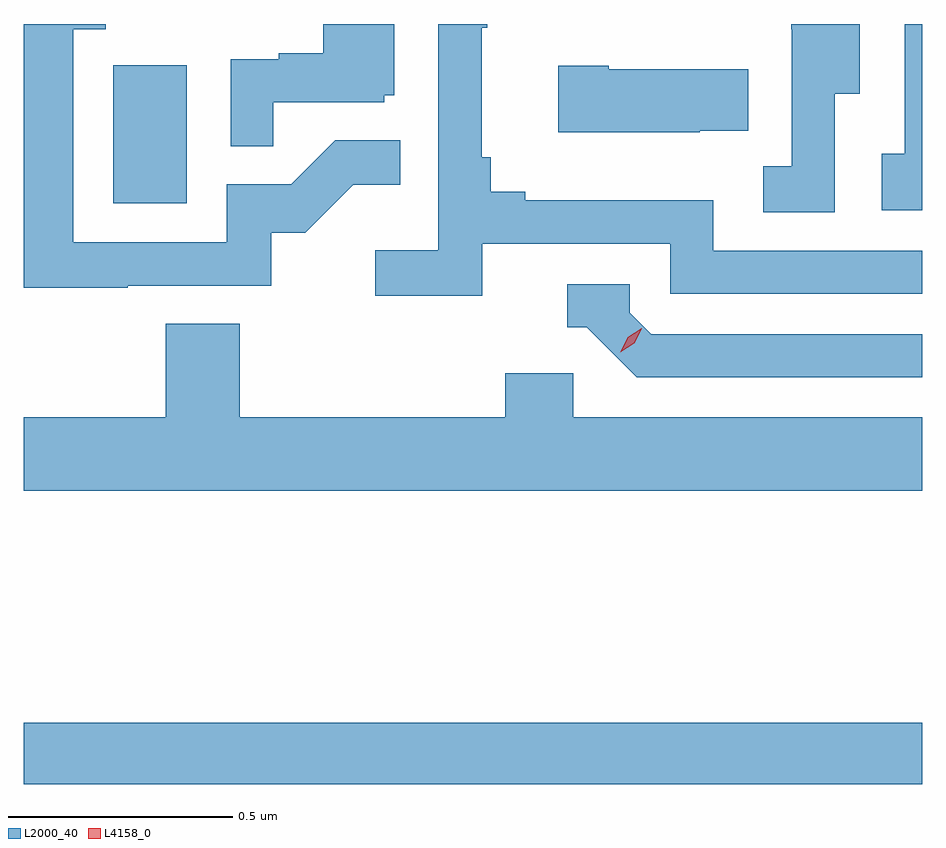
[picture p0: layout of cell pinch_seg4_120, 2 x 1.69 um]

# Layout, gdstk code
import gdstk
lib = gdstk.Library(unit=1e-6, precision=1e-09)
def R(c, l, rs):  # rectangles x0, y0, x1, y1
    for r in rs: c.add(gdstk.rectangle(r[:2], r[2:], *l))
def P(c, l, *ps):  # polygons
    for p in ps: c.add(gdstk.Polygon(p, *l))
L2000_40 = (2000, 40)
L4158_0 = (4158, 0)

pinch_seg4_120 = lib.new_cell('pinch_seg4_120')
R(pinch_seg4_120, L2000_40, [(1052.899,801.496,1054.899,801.632), (1053.098,802.788,1053.262,803.095)])
P(pinch_seg4_120, L2000_40, [(1053.92,802.698),(1054.338,802.698),(1054.338,802.587),(1054.899,802.587),(1054.899,802.683),(1054.434,802.683),(1054.434,802.795),(1054.015,802.795),(1054.015,802.814),(1053.938,802.814),(1053.938,802.891),(1053.919,802.891),(1053.919,803.179),(1053.931,803.179),(1053.931,803.187),(1053.822,803.187),(1053.822,802.684),(1053.681,802.684),(1053.681,802.582),(1053.92,802.582)],
  [(1054.704,803.032),(1054.759,803.032),(1054.759,803.187),(1054.607,803.187),(1054.607,803.175),(1054.608,803.175),(1054.608,802.871),(1054.545,802.871),(1054.545,802.768),(1054.704,802.768)],
  [(1054.899,803.187),(1054.86,803.187),(1054.86,802.898),(1054.809,802.898),(1054.809,802.773),(1054.899,802.773)],
  [(1053.455,803.013),(1053.702,803.013),(1053.702,803.028),(1053.724,803.028),(1053.724,803.187),(1053.566,803.187),(1053.566,803.122),(1053.467,803.122),(1053.467,803.109),(1053.36,803.109),(1053.36,802.915),(1053.455,802.915)],
  [(1053.131,802.605),(1053.45,802.605),(1053.45,802.722),(1053.526,802.722),(1053.633,802.829),(1053.737,802.829),(1053.737,802.928),(1053.593,802.928),(1053.495,802.83),(1053.351,802.83),(1053.351,802.701),(1053.009,802.701),(1053.009,803.175),(1053.082,803.175),(1053.082,803.187),(1052.899,803.187),(1052.899,802.6),(1053.131,802.6)],
  [(1054.403,802.949),(1054.511,802.949),(1054.511,803.086),(1054.201,803.086),(1054.201,803.094),(1054.089,803.094),(1054.089,802.946),(1054.403,802.946)],
  [(1054.899,802.497),(1054.296,802.497),(1054.248,802.545),(1054.248,802.608),(1054.109,802.608),(1054.109,802.512),(1054.152,802.512),(1054.263,802.401),(1054.899,802.401)],
  [(1054.899,802.312),(1054.122,802.312),(1054.122,802.41),(1053.971,802.41),(1053.971,802.312),(1053.38,802.312),(1053.38,802.52),(1053.215,802.52),(1053.215,802.312),(1052.899,802.312),(1052.899,802.148),(1054.899,802.148)])
P(pinch_seg4_120, L4158_0, [(1054.227,802.457),(1054.227,802.457),(1054.243,802.49),(1054.274,802.51),(1054.274,802.51),(1054.274,802.509),(1054.258,802.477),(1054.227,802.457)])

lib.write_gds('pinch_seg4_120.gds')
